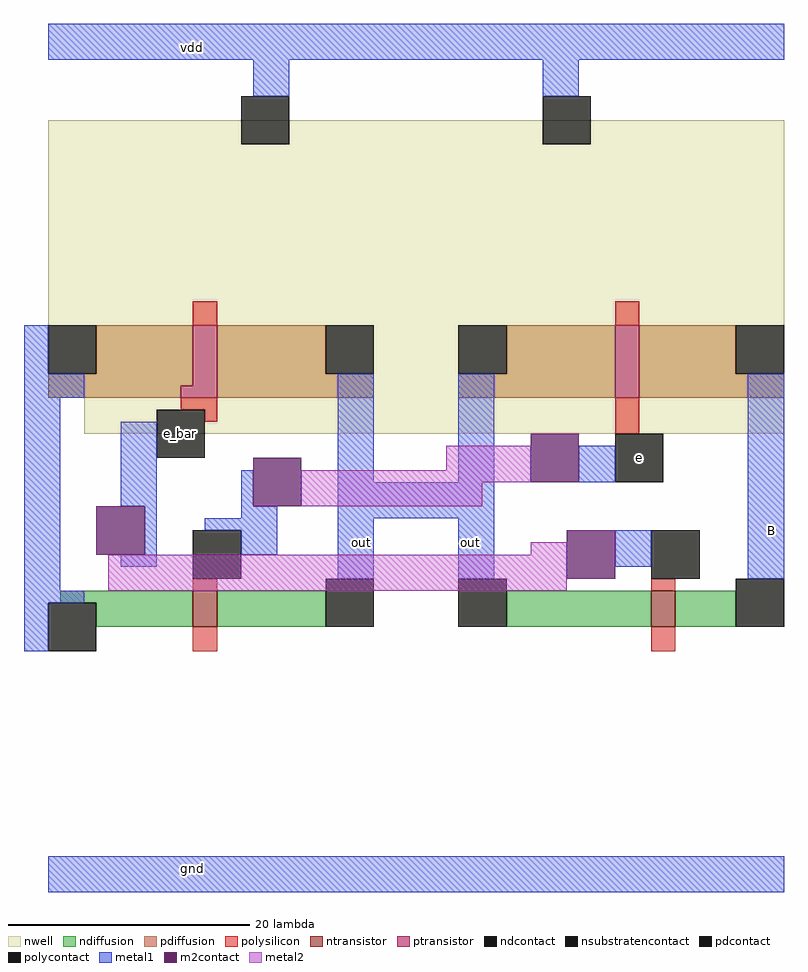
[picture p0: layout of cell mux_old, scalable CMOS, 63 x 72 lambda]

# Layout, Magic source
magic
tech scmos
<< nwell >>
rect 0 41 61 64
rect 3 38 61 41
<< polysilicon >>
rect 12 47 14 49
rect 47 47 49 49
rect 11 40 14 41
rect 13 39 14 40
rect 47 38 49 41
rect 12 25 14 26
rect 50 25 52 26
rect 12 20 14 22
rect 50 20 52 22
<< ndiffusion >>
rect 1 24 12 25
rect 4 22 12 24
rect 14 22 23 25
rect 38 22 50 25
rect 52 22 57 25
<< pdiffusion >>
rect 4 43 12 47
rect 0 42 12 43
rect 14 43 23 47
rect 0 41 11 42
rect 14 41 27 43
rect 38 43 47 47
rect 34 41 47 43
rect 49 43 57 47
rect 49 41 61 43
<< metal1 >>
rect 0 69 61 72
rect 17 66 20 69
rect 41 66 44 69
rect -2 43 0 47
rect -2 41 3 43
rect -2 25 1 41
rect 6 32 9 39
rect 8 28 9 32
rect 16 32 17 35
rect 24 34 27 43
rect 34 34 37 43
rect 44 34 47 37
rect 16 31 19 32
rect 13 30 19 31
rect 6 27 9 28
rect 16 28 19 30
rect 24 31 37 34
rect 24 26 27 31
rect -2 24 3 25
rect -2 20 0 24
rect 34 26 37 31
rect 47 27 50 30
rect 58 26 61 43
rect 0 0 61 3
<< metal2 >>
rect 33 35 40 37
rect 21 34 40 35
rect 21 32 36 34
rect 40 28 43 29
rect 5 25 43 28
<< ntransistor >>
rect 12 22 14 25
rect 50 22 52 25
<< ptransistor >>
rect 12 42 14 47
rect 11 41 14 42
rect 47 41 49 47
<< polycontact >>
rect 9 36 13 40
rect 47 34 51 38
rect 12 26 16 30
rect 50 26 54 30
<< ndcontact >>
rect 0 20 4 24
rect 23 22 27 26
rect 34 22 38 26
rect 57 22 61 26
<< pdcontact >>
rect 0 43 4 47
rect 23 43 27 47
rect 34 43 38 47
rect 57 43 61 47
<< m2contact >>
rect 4 28 8 32
rect 17 32 21 36
rect 40 34 44 38
rect 43 26 47 30
<< nsubstratencontact >>
rect 16 62 20 66
rect 41 62 45 66
<< labels >>
rlabel metal1 26 29 26 29 7 out
rlabel metal1 12 70 12 70 5 vdd
rlabel metal1 12 2 12 2 1 gnd
rlabel metal1 35 29 35 29 3 out
rlabel metal1 60 30 60 30 7 B
rlabel polycontact 49 36 49 36 1 e
rlabel polycontact 11 38 11 38 1 e_bar
<< end >>
